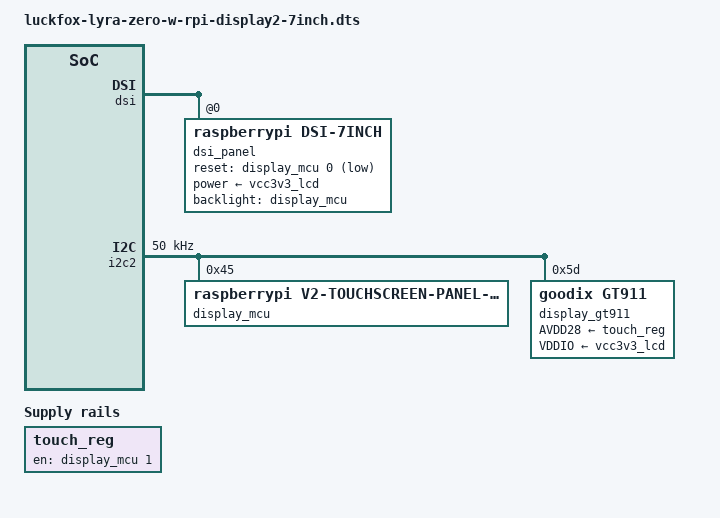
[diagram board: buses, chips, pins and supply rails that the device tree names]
// SPDX-License-Identifier: (GPL-2.0+ OR MIT)
/*
 * Configure Luckfox Lyra Zero W for the official Raspberry Pi Touch Display 2
 * 7-inch panel over the onboard DSI connector.
 */

/dts-v1/;
/plugin/;

/ {
	metadata {
		title = "Enable Raspberry Pi Touch Display 2 (7-inch) on luckfox-lyra-zero-w";
		compatible = "rockchip,rk3506b-lyra-zero";
		category = "display";
		description = "Switch DSI panel, touch, and backlight to the Raspberry Pi Display 2 profile.";
	};

	fragment@10 {
		target-path = "/";

		__overlay__ {
			touch_reg: touch-reg {
				compatible = "regulator-fixed";
				regulator-name = "touch_reg_1";
				gpio = <&display_mcu 1 0>;
				startup-delay-us = <50000>;
				enable-active-high;
				regulator-boot-on;
				regulator-always-on;
			};
		};
	};
};

&dsi {
	/delete-node/ panel@0;

	dsi_panel: panel@0 {
		compatible = "raspberrypi,dsi-7inch";
		reg = <0>;
		status = "okay";

		power-supply = <&vcc3v3_lcd>;
		backlight = <&display_mcu>;
		reset-gpios = <&display_mcu 0 1>;

		dsi,flags = <0x00000a03>;
		dsi,format = <0>;
		dsi,lanes = <2>;

		width-mm = <90>;
		height-mm = <151>;
	};
};

&i2c2 {
	#address-cells = <1>;
	#size-cells = <0>;
	clock-frequency = <50000>;

	display_mcu: display_mcu@45 {
		compatible = "raspberrypi,v2-touchscreen-panel-regulator";
		reg = <0x45>;
		gpio-controller;
		#gpio-cells = <2>;
		status = "okay";
	};

	display_gt911: gt911@5d {
		compatible = "goodix,gt911";
		reg = <0x5d>;
		AVDD28-supply = <&touch_reg>;
		VDDIO-supply = <&vcc3v3_lcd>;
		touchscreen-size-x = <720>;
		touchscreen-size-y = <1280>;
		touchscreen-x-mm = <90>;
		touchscreen-y-mm = <151>;
		status = "okay";
	};
};

&disp_timings0 {
	native-mode = <&dsi_timing1>;
};

&dsi_timing1 {
	clock-frequency = <83330000>;
	hactive = <720>;
	vactive = <1280>;

	hsync-len = <33>;
	hback-porch = <50>;
	hfront-porch = <239>;

	vsync-len = <2>;
	vback-porch = <30>;
	vfront-porch = <20>;

	hsync-active = <0>;
	vsync-active = <0>;
	de-active = <0>;
	pixelclk-active = <0>;
};

&gt9271 {
	status = "disabled";
};

&gt911 {
	status = "disabled";
};

&ft5406 {
	status = "disabled";
};

&ws_bl {
	status = "disabled";
};
